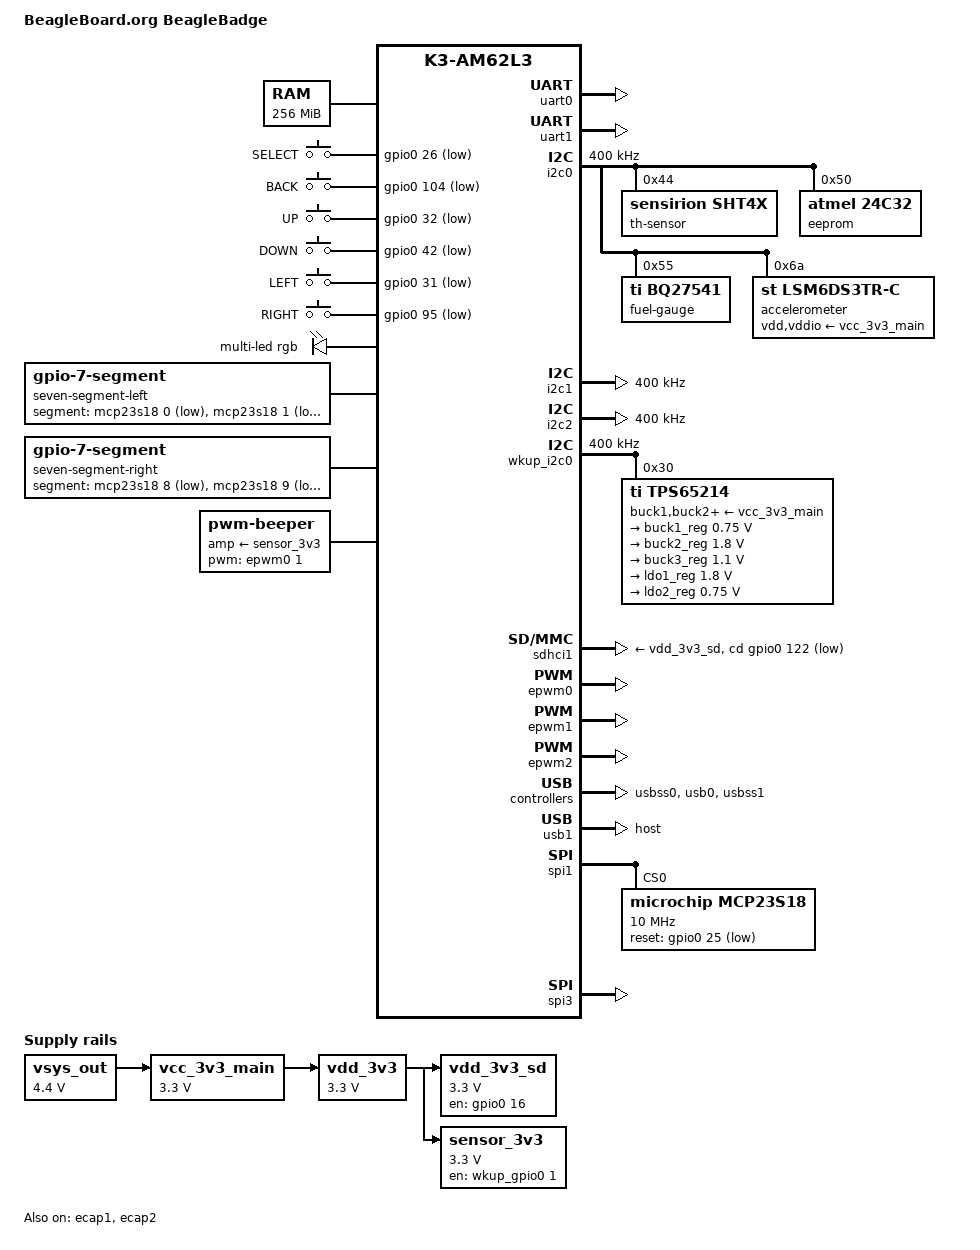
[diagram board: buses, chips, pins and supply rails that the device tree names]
// SPDX-License-Identifier: GPL-2.0-only or MIT
/*
 * https://www.beagleboard.org/boards/beaglebadge
 *
 * Copyright (C) 2026 Texas Instruments Incorporated - https://www.ti.com/
 */

/dts-v1/;

#include <dt-bindings/gpio/gpio.h>
#include <dt-bindings/input/input.h>
#include <dt-bindings/leds/common.h>
#include "k3-am62l3.dtsi"
#include "k3-pinctrl.h"

/ {
	compatible = "beagle,am62l3-beaglebadge", "ti,am62l3";
	model = "BeagleBoard.org BeagleBadge";

	chosen {
		stdout-path = "serial0:115200n8";
	};

	aliases {
		i2c0 = &i2c0;
		i2c1 = &i2c1;
		i2c2 = &i2c2;
		i2c4 = &wkup_i2c0;
		mmc1 = &sdhci1;
		serial0 = &uart0;
		serial1 = &uart1;
	};

	memory@80000000 {
		/* 256MB */
		reg = <0x00000000 0x80000000 0x00000000 0x10000000>;
		device_type = "memory";
		bootph-all;
	};

	thermal-zones {
		wkup0-thermal {
			polling-delay-passive = <250>;	/* milliSeconds */
			polling-delay = <500>;		/* milliSeconds */
			thermal-sensors = <&vtm0 0>;

			trips {
				crit0 {
					temperature = <125000>;
					hysteresis = <2000>;
					type = "critical";
				};
			};
		};
	};

	gpio_keys: gpio-keys {
		compatible = "gpio-keys";
		autorepeat;

		button-select {
			label = "SELECT";
			linux,code = <KEY_SELECT>;
			gpios = <&gpio0 26 GPIO_ACTIVE_LOW>;
		};

		button-back {
			label = "BACK";
			linux,code = <KEY_BACK>;
			gpios = <&gpio0 104 GPIO_ACTIVE_LOW>;
		};

		button-up {
			label = "UP";
			linux,code = <KEY_UP>;
			gpios = <&gpio0 32 GPIO_ACTIVE_LOW>;
		};

		button-down {
			label = "DOWN";
			linux,code = <KEY_DOWN>;
			gpios = <&gpio0 42 GPIO_ACTIVE_LOW>;
		};

		button-left {
			label = "LEFT";
			linux,code = <KEY_LEFT>;
			gpios = <&gpio0 31 GPIO_ACTIVE_LOW>;
		};

		button-right {
			label = "RIGHT";
			linux,code = <KEY_RIGHT>;
			gpios = <&gpio0 95 GPIO_ACTIVE_LOW>;
		};
	};

	multicolor-led {
		compatible = "pwm-leds-multicolor";

		multi-led {
			color = <LED_COLOR_ID_RGB>;
			max-brightness = <255>;

			led-red {
				pwms = <&ecap2 0 10000000 0>;
				color = <LED_COLOR_ID_RED>;
			};

			led-green {
				pwms = <&ecap1 0 10000000 0>;
				color = <LED_COLOR_ID_GREEN>;
			};

			led-blue {
				pwms = <&epwm1 1 10000000 0>;
				color = <LED_COLOR_ID_BLUE>;
			};
		};
	};

	seven-segment-left {
		compatible = "gpio-7-segment";
		segment-gpios = <&mcp23s18 0 GPIO_ACTIVE_LOW>,
				<&mcp23s18 1 GPIO_ACTIVE_LOW>,
				<&mcp23s18 2 GPIO_ACTIVE_LOW>,
				<&mcp23s18 3 GPIO_ACTIVE_LOW>,
				<&mcp23s18 4 GPIO_ACTIVE_LOW>,
				<&mcp23s18 5 GPIO_ACTIVE_LOW>,
				<&mcp23s18 6 GPIO_ACTIVE_LOW>,
				<&mcp23s18 7 GPIO_ACTIVE_LOW>;
	};

	seven-segment-right {
		compatible = "gpio-7-segment";
		segment-gpios = <&mcp23s18 8 GPIO_ACTIVE_LOW>,
				<&mcp23s18 9 GPIO_ACTIVE_LOW>,
				<&mcp23s18 10 GPIO_ACTIVE_LOW>,
				<&mcp23s18 11 GPIO_ACTIVE_LOW>,
				<&mcp23s18 12 GPIO_ACTIVE_LOW>,
				<&mcp23s18 13 GPIO_ACTIVE_LOW>,
				<&mcp23s18 14 GPIO_ACTIVE_LOW>,
				<&mcp23s18 15 GPIO_ACTIVE_LOW>;
	};

	pwm-beeper {
		compatible = "pwm-beeper";
		pwms = <&epwm0 1 1000000 0>;
		amp-supply = <&sensor_3v3>;
	};

	vsys_out: regulator-0 {
		/* output of BQ24070 */
		compatible = "regulator-fixed";
		regulator-name = "VSYS_OUT";
		regulator-min-microvolt = <4400000>;
		regulator-max-microvolt = <4400000>;
		regulator-always-on;
		regulator-boot-on;
		bootph-all;
	};

	vcc_3v3_main: regulator-1 {
		/* output of TPS62A06 */
		compatible = "regulator-fixed";
		regulator-name = "VCC_3V3_MAIN";
		regulator-min-microvolt = <3300000>;
		regulator-max-microvolt = <3300000>;
		vin-supply = <&vsys_out>;
		regulator-always-on;
		regulator-boot-on;
		bootph-all;
	};

	vdd_3v3: regulator-2 {
		/* output of TPS22965 */
		compatible = "regulator-fixed";
		regulator-name = "VDD_3V3";
		regulator-min-microvolt = <3300000>;
		regulator-max-microvolt = <3300000>;
		vin-supply = <&vcc_3v3_main>;
		regulator-always-on;
		regulator-boot-on;
		bootph-all;
	};

	vdd_3v3_sd: regulator-3 {
		/* TPS22918DBVR */
		compatible = "regulator-fixed";
		regulator-name = "VDD_3V3_SD";
		regulator-min-microvolt = <3300000>;
		regulator-max-microvolt = <3300000>;
		vin-supply = <&vdd_3v3>;
		regulator-boot-on;
		enable-active-high;
		gpios = <&gpio0 16 GPIO_ACTIVE_HIGH>;
		pinctrl-names = "default";
		pinctrl-0 = <&vdd_3v3_sd_ena_pins_default>;
		bootph-all;
	};

	sensor_3v3: regulator-4 {
		/* TPS22918DBVR */
		compatible = "regulator-fixed";
		regulator-name = "Sensor_3V3";
		regulator-min-microvolt = <3300000>;
		regulator-max-microvolt = <3300000>;
		vin-supply = <&vdd_3v3>;
		regulator-boot-on;
		enable-active-high;
		gpios = <&wkup_gpio0 1 GPIO_ACTIVE_HIGH>;
		pinctrl-names = "default";
		pinctrl-0 = <&sensor_3v3_ena_pins_default>;
		bootph-all;
	};
};

&pmx0 {
	uart0_pins_default: uart0-default-pins {
		pinctrl-single,pins = <
			AM62LX_IOPAD(0x01b8, PIN_OUTPUT, 0) /* (C13) UART0_TXD */
			AM62LX_IOPAD(0x01b4, PIN_INPUT, 0) /* (D13) UART0_RXD */
		>;
		bootph-all;
	};

	uart0_pins_wakeup: uart0-wakeup-pins {
		pinctrl-single,pins = <
			AM62LX_IOPAD(0x01b8, PIN_OUTPUT, 0) /* (C13) UART0_TXD */
			AM62LX_IOPAD(0x01b4, PIN_INPUT | PIN_WKUP_EN, 0) /* (D13) UART0_RXD */
		>;
		bootph-all;
	};

	uart1_pins_default: uart1-default-pins {
		pinctrl-single,pins = <
			AM62LX_IOPAD(0x019c, PIN_OUTPUT, 2) /* (A12) MCASP0_ACLKR.UART1_TXD */
			AM62LX_IOPAD(0x0198, PIN_INPUT, 2) /* (C11) MCASP0_AFSR.UART1_RXD */
			AM62LX_IOPAD(0x0180, PIN_INPUT, 2) /* (A8) MCASP0_AXR3.UART1_CTSn */
			AM62LX_IOPAD(0x0184, PIN_OUTPUT, 2) /* (B10) MCASP0_AXR2.UART1_RTSn */
		>;
		bootph-all;
	};

	usr_button_pins_default: usr-button-default-pins {
		pinctrl-single,pins = <
			AM62LX_IOPAD(0x00a4, PIN_INPUT, 7) /* (H18) GPMC0_AD11.GPIO0_26 */
			AM62LX_IOPAD(0x01e4, PIN_INPUT, 7) /* (D16) EXT_REFCLK1.GPIO0_104 */
			AM62LX_IOPAD(0x00c0, PIN_INPUT, 7) /* (N19) GPMC0_ADVn_ALE.GPIO0_32 */
			AM62LX_IOPAD(0x00e8, PIN_INPUT, 7) /* (L19) GPMC0_CSn1.GPIO0_42 */
			AM62LX_IOPAD(0x00b8, PIN_INPUT, 7) /* (L21) GPMC0_CLK.GPIO0_31 */
			AM62LX_IOPAD(0x01c0, PIN_INPUT, 7) /* (B13) UART0_RTSn.GPIO0_95 */
		>;
		bootph-all;
	};

	i2c0_pins_default: i2c0-default-pins {
		pinctrl-single,pins = <
			AM62LX_IOPAD(0x01cc, PIN_INPUT_PULLUP, 0) /* (B7) I2C0_SCL */
			AM62LX_IOPAD(0x01d0, PIN_INPUT_PULLUP, 0) /* (A7) I2C0_SDA */
		>;
		bootph-all;
	};

	i2c1_pins_default: i2c1-default-pins {
		pinctrl-single,pins = <
			AM62LX_IOPAD(0x01d4, PIN_INPUT_PULLUP, 0) /* (D7) I2C1_SCL */
			AM62LX_IOPAD(0x01d8, PIN_INPUT_PULLUP, 0) /* (A6) I2C1_SDA */
		>;
		bootph-all;
	};

	i2c2_qwiic_pins_default: i2c2-qwiic-default-pins {
		pinctrl-single,pins = <
			AM62LX_IOPAD(0x01dc, PIN_INPUT_PULLUP, 0) /* (B8) I2C2_SCL */
			AM62LX_IOPAD(0x01e0, PIN_INPUT_PULLUP, 0) /* (D8) I2C2_SDA */
		>;
		bootph-all;
	};

	vdd_3v3_sd_ena_pins_default: vdd-3v3-sd-ena-default-pins {
		pinctrl-single,pins = <
			AM62LX_IOPAD(0x07c, PIN_OUTPUT, 7) /* (L23) GPMC0_AD1.GPIO0_16 */
		>;
		bootph-all;
	};

	sensor_3v3_ena_pins_default: sensor-3v3-ena-default-pins {
		pinctrl-single,pins = <
			AM62LX_IOPAD(0x004, PIN_OUTPUT, 7) /* (AA23) WKUP_UART0_TXD.WKUP_GPIO0_1 */
		>;
		bootph-all;
	};

	mmc1_pins_default: mmc1-default-pins {
		pinctrl-single,pins = <
			AM62LX_IOPAD(0x0230, PIN_INPUT, 0) /* (Y3) MMC1_CMD */
			AM62LX_IOPAD(0x0228, PIN_OUTPUT, 0) /* (Y2) MMC1_CLK */
			AM62LX_IOPAD(0x0224, PIN_INPUT, 0) /* (AA1) MMC1_DAT0 */
			AM62LX_IOPAD(0x0220, PIN_INPUT, 0) /* (Y4) MMC1_DAT1 */
			AM62LX_IOPAD(0x021c, PIN_INPUT, 0) /* (AA2) MMC1_DAT2 */
			AM62LX_IOPAD(0x0218, PIN_INPUT, 0) /* (AB2) MMC1_DAT3 */
			AM62LX_IOPAD(0x0234, PIN_INPUT, 7) /* (B6) MMC1_SDCD.GPIO0_122 */
		>;
		bootph-all;
	};

	usb1_pins_default: usb1-default-pins {
		pinctrl-single,pins = <
			AM62LX_IOPAD(0x0248, PIN_INPUT | PIN_DS_PULLUD_ENABLE |
				PIN_DS_PULL_UP, 0) /* (A5) USB1_DRVVBUS */
		>;
		bootph-all;
	};

	pwm_beeper_pins_default: pwm-beeper-default-pins {
		pinctrl-single,pins = <
			AM62LX_IOPAD(0x00b0, PIN_OUTPUT, 4) /* (F22) GPMC0_AD14.EHRPWM0_B */
		>;
	};

	pmic_irq_pins_default: pmic-irq-default-pins {
		pinctrl-single,pins = <
			AM62LX_IOPAD(0x01e8, PIN_INPUT, 0) /* (C8) EXTINTn */
		>;
		bootph-all;
	};

	wkup_i2c0_pins_default: wkup-i2c0-default-pins {
		pinctrl-single,pins = <
			AM62LX_IOPAD(0x0010, PIN_INPUT_PULLUP, 0) /* (AB22) WKUP_I2C0_SCL */
			AM62LX_IOPAD(0x0014, PIN_INPUT_PULLUP, 0) /* (AA22) WKUP_I2C0_SDA */
		>;
		bootph-all;
	};

	rgb_led_ecap2_pins_default: rgb-led-ecap2-default-pins {
		pinctrl-single,pins = <
			AM62LX_IOPAD(0x0190, PIN_OUTPUT, 2) /* (A11) MCASP0_ACLKX.ECAP2_IN_APWM_OUT */
		>;
	};

	rgb_led_ecap1_pins_default: rgb-led-ecap1-default-pins {
		pinctrl-single,pins = <
			AM62LX_IOPAD(0x0188, PIN_OUTPUT, 2) /* (A9) MCASP0_AXR1.ECAP1_IN_APWM_OUT */
		>;
	};

	rgb_led_epwm1_pins_default: rgb-led-epwm1-default-pins {
		pinctrl-single,pins = <
			AM62LX_IOPAD(0x018c, PIN_OUTPUT, 5) /* (B9) MCASP0_AXR0.EHRPWM1_B */
		>;
	};

	spi1_pins_default: spi1-default-pins {
		pinctrl-single,pins = <
			AM62LX_IOPAD(0x008c, PIN_OUTPUT, 4) /* (H22) GPMC0_AD5.SPI1_CLK */
			AM62LX_IOPAD(0x0088, PIN_OUTPUT, 4) /* (K23) GPMC0_AD4.SPI1_CS0 */
			AM62LX_IOPAD(0x0080, PIN_INPUT, 4) /* (K22) GPMC0_AD2.SPI1_D0 */
			AM62LX_IOPAD(0x0084, PIN_OUTPUT, 4) /* (J23) GPMC0_AD3.SPI1_D1 */
		>;
		bootph-all;
	};

	spi3_pins_default: spi3-default-pins {
		pinctrl-single,pins = <
			AM62LX_IOPAD(0x00d0, PIN_OUTPUT, 5) /* (P22) GPMC0_BE1n.SPI3_CLK */
			AM62LX_IOPAD(0x00cc, PIN_OUTPUT, 5) /* (P23) GPMC0_BE0n_CLE.SPI3_CS0 */
			AM62LX_IOPAD(0x00d4, PIN_INPUT, 5) /* (N23) GPMC0_WAIT0.SPI3_D0 */
			AM62LX_IOPAD(0x00d8, PIN_OUTPUT, 5) /* (N22) GPMC0_WAIT1.SPI3_D1 */
		>;
	};

	mcp23s18_reset_pins_default: mcp23s18-reset-default-pins {
		pinctrl-single,pins = <
			AM62LX_IOPAD(0x00a0, PIN_OUTPUT, 7) /* (H21) GPMC0_AD10.GPIO0_25 */
		>;
	};

	epwm2_pins_default: epwm2-default-pins {
		pinctrl-single,pins = <
			AM62LX_IOPAD(0x00c4, PIN_OUTPUT, 4) /* (N20) GPMC0_OEn_REn.EHRPWM2_A */
		>;
	};

	lora_control_pins_default: lora-control-default-pins {
		pinctrl-single,pins = <
			AM62LX_IOPAD(0x00c8, PIN_OUTPUT, 7) /* (M19) GPMC0_WEn.GPIO0_34 */
			AM62LX_IOPAD(0x00e4, PIN_OUTPUT, 7) /* (L20) GPMC0_CSn0.GPIO0_41 */
			AM62LX_IOPAD(0x01a4, PIN_INPUT, 7) /* (D11) SPI0_CS1.GPIO0_88 */
			AM62LX_IOPAD(0x01bc, PIN_INPUT, 7) /* (B14) UART0_CTSn.GPIO0_94 */
		>;
		bootph-all;
	};

	gpio0_pins_default: gpio0-default-pins {
		pinctrl-single,pins = <
			AM62LX_IOPAD(0x0078, PIN_OUTPUT, 7) /* (L22) GPMC0_AD0.GPIO0_15 */
			AM62LX_IOPAD(0x00e0, PIN_INPUT, 7) /* (M21) GPMC0_DIR.GPIO0_40 */
			AM62LX_IOPAD(0x00ec, PIN_OUTPUT, 7) /* (M23) GPMC0_CSn2.GPIO0_43 */
			AM62LX_IOPAD(0x00f0, PIN_INPUT, 7) /* (M22) GPMC0_CSn3.GPIO0_44 */
			AM62LX_IOPAD(0x0194, PIN_OUTPUT, 7) /* (B11) MCASP0_AFSX.GPIO0_84 */
		>;
		bootph-all;
	};
};

&uart0 {
	wakeup-source;
	pinctrl-0 = <&uart0_pins_default>;
	pinctrl-1 = <&uart0_pins_wakeup>;
	pinctrl-names = "default", "wakeup";
	bootph-all;
	status = "okay";
};

&uart1 {
	pinctrl-names = "default";
	pinctrl-0 = <&uart1_pins_default>;
	bootph-all;
	status = "okay";
};

&i2c0 {
	clock-frequency = <400000>;
	pinctrl-names = "default";
	pinctrl-0 = <&i2c0_pins_default>;
	bootph-all;
	status = "okay";

	/* T&H Sensor */
	th-sensor@44 {
		compatible = "sensirion,sht4x";
		reg = <0x44>;
	};

	/* EEPROM */
	eeprom@50 {
		/* FT24C32A-ELRT */
		compatible = "atmel,24c32";
		reg = <0x50>;
	};

	/* Fuel Gauge */
	fuel-gauge@55 {
		compatible = "ti,bq27541";
		reg = <0x55>;
	};

	/* IMU Sensor */
	accelerometer@6a {
		compatible = "st,lsm6ds3tr-c";
		reg = <0x6a>;
		vdd-supply = <&vcc_3v3_main>;
		vddio-supply = <&vcc_3v3_main>;
	};
};

&i2c1 {
	clock-frequency = <400000>;
	pinctrl-names = "default";
	pinctrl-0 = <&i2c1_pins_default>;
	bootph-all;
	status = "okay";
};

&i2c2 {
	clock-frequency = <400000>;
	pinctrl-names = "default";
	pinctrl-0 = <&i2c2_qwiic_pins_default>;
	bootph-all;
	status = "okay";
};

&wkup_i2c0 {
	clock-frequency = <400000>;
	pinctrl-names = "default";
	pinctrl-0 = <&wkup_i2c0_pins_default>;
	bootph-all;
	status = "okay";

	tps65214: pmic@30 {
		compatible = "ti,tps65214";
		reg = <0x30>;
		interrupt-parent = <&gic500>;
		interrupts = <GIC_SPI 224 IRQ_TYPE_LEVEL_HIGH>;
		buck1-supply = <&vcc_3v3_main>;
		buck2-supply = <&vcc_3v3_main>;
		buck3-supply = <&vcc_3v3_main>;
		ldo1-supply = <&vcc_3v3_main>;
		ldo2-supply = <&vcc_3v3_main>;
		pinctrl-names = "default";
		pinctrl-0 = <&pmic_irq_pins_default>;
		ti,power-button;
		bootph-all;

		regulators {
			buck1_reg: buck1 {
				regulator-name = "VDD_CORE";
				regulator-min-microvolt = <750000>;
				regulator-max-microvolt = <750000>;
				regulator-always-on;
				regulator-boot-on;
			};

			buck2_reg: buck2 {
				regulator-name = "VDD_1V8";
				regulator-min-microvolt = <1800000>;
				regulator-max-microvolt = <1800000>;
				regulator-always-on;
				regulator-boot-on;
			};

			buck3_reg: buck3 {
				regulator-name = "VDD_LPDDR4";
				regulator-min-microvolt = <1100000>;
				regulator-max-microvolt = <1100000>;
				regulator-always-on;
				regulator-boot-on;
			};

			ldo1_reg: ldo1 {
				regulator-name = "VDDA_1V8";
				regulator-min-microvolt = <1800000>;
				regulator-max-microvolt = <1800000>;
				regulator-always-on;
				regulator-boot-on;
			};

			ldo2_reg: ldo2 {
				regulator-name = "PMIC_VDD_RTC";
				regulator-min-microvolt = <750000>;
				regulator-max-microvolt = <750000>;
				regulator-always-on;
				regulator-boot-on;
			};
		};
	};
};

&gpio0 {
	gpio-line-names = "","","","","","","","","","",	/* 0-9 */
			 "","","","","","BOOST_5V_ENA","VDD_3V3_SD_ENA","","","",	/* 10-19 */
			 "","","","","","MCP23S18_RESET","BTN_SELECT","","","",	/* 20-29 */
			 "","BTN_LEFT","BTN_UP","","LORA_RESET","","","","","",	/* 30-39 */
			 "GAUGE_BATLOW","LORA_RFSW","BTN_DOWN","USB_RST","MBUS_INT","","","","","",	/* 40-49 */
			 "","WLAN_EN","","","","","","","","",	/* 50-59 */
			 "","","","","","","","","","",	/* 60-69 */
			 "","","","","","","","","","",	/* 70-79 */
			 "","","","","MBUS_RST","","","","LORA_BUSY","",	/* 80-89 */
			 "","","","","LORA_DIO","BTN_RIGHT","","","","",	/* 90-99 */
			 "","","","","BTN_BACK","","","","","",	/* 100-109 */
			 "","","","","","","","","","",	/* 110-119 */
			 "","","SD_CD","","","";	/* 120-125 */
	pinctrl-names = "default";
	pinctrl-0 = <&gpio0_pins_default>, <&usr_button_pins_default>, <&lora_control_pins_default>;
	bootph-all;
	status = "okay";
};

&wkup_gpio0 {
	gpio-line-names = "","SENSOR_3V3_ENA","","","","","","";	/* 0-7 */
	bootph-all;
	status = "okay";
};

&sdhci1 {
	/* SD/MMC */
	vmmc-supply = <&vdd_3v3_sd>;
	disable-wp;
	cd-gpios = <&gpio0 122 GPIO_ACTIVE_LOW>;
	cd-debounce-delay-ms = <100>;
	ti,fails-without-test-cd;
	pinctrl-names = "default";
	pinctrl-0 = <&mmc1_pins_default>;
	bootph-all;
	status = "okay";
};

&epwm0 {
	pinctrl-names = "default";
	pinctrl-0 = <&pwm_beeper_pins_default>;
	status = "okay";
};

&epwm1 {
	pinctrl-names = "default";
	pinctrl-0 = <&rgb_led_epwm1_pins_default>;
	status = "okay";
};

&epwm2 {
	pinctrl-names = "default";
	pinctrl-0 = <&epwm2_pins_default>;
	status = "okay";
};

&ecap1 {
	pinctrl-names = "default";
	pinctrl-0 = <&rgb_led_ecap1_pins_default>;
	status = "okay";
};

&ecap2 {
	pinctrl-names = "default";
	pinctrl-0 = <&rgb_led_ecap2_pins_default>;
	status = "okay";
};

&usbss0 {
	ti,vbus-divider;
	status = "okay";
};

&usb0 {
	usb-role-switch;
	bootph-all;
	status = "okay";
};

&usbss1 {
	ti,vbus-divider;
	bootph-all;
	status = "okay";
};

&usb1 {
	dr_mode = "host";
	pinctrl-names = "default";
	pinctrl-0 = <&usb1_pins_default>;
	bootph-all;
	status = "okay";
};

&spi1 {
	pinctrl-names = "default";
	pinctrl-0 = <&spi1_pins_default>;
	status = "okay";

	mcp23s18: gpio@0 {
		compatible = "microchip,mcp23s18";
		reg = <0>;
		spi-max-frequency = <10000000>;
		gpio-controller;
		#gpio-cells = <2>;
		reset-gpios = <&gpio0 25 GPIO_ACTIVE_LOW>;
		pinctrl-names = "default";
		pinctrl-0 = <&mcp23s18_reset_pins_default>;
		microchip,spi-present-mask = /bits/ 8 <0x01>;
	};
};

&spi3 {
	pinctrl-names = "default";
	pinctrl-0 = <&spi3_pins_default>;
	status = "okay";
};
